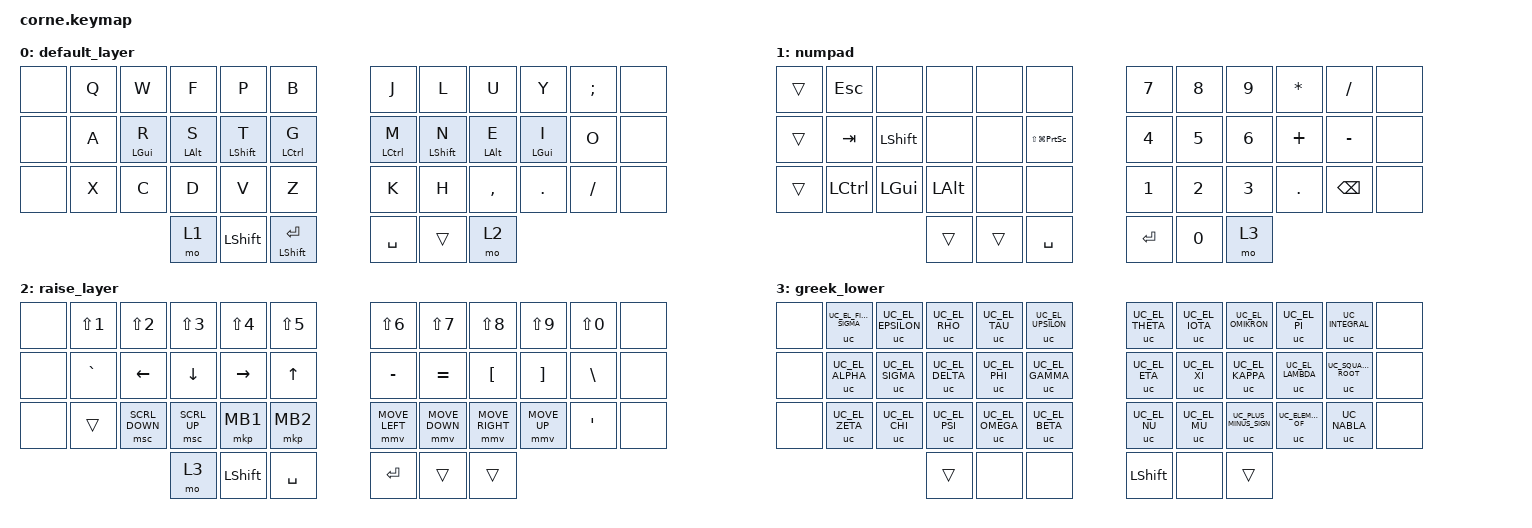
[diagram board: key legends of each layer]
/*
 * Copyright (c) 2020 The ZMK Contributors
 *
 * SPDX-License-Identifier: MIT
 */

#include <behaviors.dtsi>
#include <dt-bindings/zmk/keys.h>
#include <dt-bindings/zmk/bt.h>
#include <dt-bindings/zmk/pointing.h>
#include <behaviors/unicode.dtsi>
#include <zmk-unicode/keys-full.h>

&mt {
  tapping-term-ms = <750>; //default is 200ms
};


&uc {
  default-mode = <UC_MODE_LINUX>;  // Replace with desired input system.
};

/ {
        keymap {
                compatible = "zmk,keymap";

                default_layer {
// -----------------------------------------------------------------------------------------
// |  |  Q  |  W       |  F  |        P  |        B  |                   |  J  |        L   |        U  |      Y  |     ;  |  |
// |  |  A  |  R(gui)  |  S(alt)  |  T(shift)  |  G(ctrl)  |         |  M(ctrl)  |  N(shift)   |  E(alt)  |  I(gui)  |  O  |  |
// |  |  X  |  C  |       D  |       V  |         Z  |                  |  K  |         H   |       ,  |        .  |    /  |  |
//                      | numpad | shift | enter(shift) |               | spacebar |         | raise |
                        bindings = <
   &none   &kp Q &kp W      &kp F      &kp P       &kp B                      &kp J       &kp L        &kp U          &kp Y        &kp SEMI    &none
   &none   &kp A &mt LGUI R &mt LALT S &mt LSHFT T &mt LCTRL G                &mt LCTRL M &mt LSHFT N  &mt LALT E     &mt LGUI I   &kp O       &none 
   &none   &kp X &kp C      &kp D      &kp V       &kp Z                      &kp K       &kp H        &kp COMMA      &kp DOT      &kp FSLH    &none 
                                 &mo 1 &kp LSHFT &mt LSHFT RET                 &kp SPACE &trans &mo 2 
                        >;
                };
                numpad {
// -----------------------------------------------------------------------------------------
// | |  esc  |      |    |    |    |         |  7  |  8  |  9  |  * |  /   | |
// | | tab | lshift |   |   | scrnshot |     |  4  |  5  |  6  |  + |  -   | |
// | | Lctrl |      |   |   |   |   |        |  1  |  2  |  3  |  . | bksp | |
//                  | trans |     | SPC |    | ENT |  0  | lyr3 |
                        bindings = <
   &trans    &kp ESC     &none       &none  &none  &none                        &kp N7   &kp N8   &kp N9    &kp ASTRK   &kp FSLH &none
   &trans    &kp TAB     &kp LSHFT   &none  &none  &kp LS(LG(PSCRN))            &kp N4   &kp N5   &kp N6    &kp PLUS   &kp MINUS   &none 
   &trans    &kp LCTRL   &kp LGUI       &kp LALT  &none  &none                  &kp N1   &kp N2   &kp N3    &kp DOT    &kp BKSP &none 
                                    &trans     &trans    &kp SPACE              &kp RET  &kp N0   &mo 3
                        >;
                };

                raise_layer {
// -----------------------------------------------------------------------------------------
// |  TAB |  !  |  @  |  #  |  $  |  %  |   |  ^  |  &  |  *  |  (  |  )  | BSPC |
// | CTRL |     |     |     |     |     |   |  -  |  =  |  [  |  ]  |  \  |  `   |
// | SHFT |     |     |     |     |     |   |  _  |  +  |  {  |  }  | "|" |  ~   |
//                    | GUI |     | SPC |   | ENT |     | ALT |
                        bindings = <
   &none &kp  LS(N1) &kp LS(N2)     &kp LS(N3)   &kp LS(N4) &kp LS(N5)          &kp LS(N6)      &kp LS(N7)     &kp LS(N8)      &kp LS(N9)    &kp LS(N0)    &none
   &none &kp GRAVE   &kp LEFT       &kp DOWN     &kp RIGHT  &kp UP              &kp MINUS       &kp EQUAL      &kp LBKT        &kp RBKT      &kp BSLH      &none
   &none &trans      &msc SCRL_DOWN &msc SCRL_UP &mkp MB1   &mkp MB2            &mmv MOVE_LEFT  &mmv MOVE_DOWN &mmv MOVE_RIGHT &mmv MOVE_UP  &kp APOS      &none
                                &mo 3         &kp LSHFT     &kp SPACE           &kp RET   &trans    &trans 
                        >;
                };
              greek_lower {
                bindings = <
   &none &uc UC_EL_FINAL_SIGMA  &uc UC_EL_EPSILON &uc UC_EL_RHO   &uc UC_EL_TAU   &uc UC_EL_UPSILON    &uc UC_EL_THETA &uc UC_EL_IOTA &uc UC_EL_OMIKRON        &uc UC_EL_PI       &uc UC_INTEGRAL    &none
   &none &uc UC_EL_ALPHA        &uc UC_EL_SIGMA   &uc UC_EL_DELTA &uc UC_EL_PHI   &uc UC_EL_GAMMA      &uc UC_EL_ETA   &uc UC_EL_XI   &uc UC_EL_KAPPA          &uc UC_EL_LAMBDA   &uc UC_SQUARE_ROOT &none
   &none &uc UC_EL_ZETA         &uc UC_EL_CHI     &uc UC_EL_PSI   &uc UC_EL_OMEGA &uc UC_EL_BETA       &uc UC_EL_NU    &uc UC_EL_MU   &uc UC_PLUS_MINUS_SIGN   &uc UC_ELEMENT_OF  &uc UC_NABLA       &none
                                                                    &trans &none &none                      &kp LSHFT &none &trans
                >;
              };
        };
};
